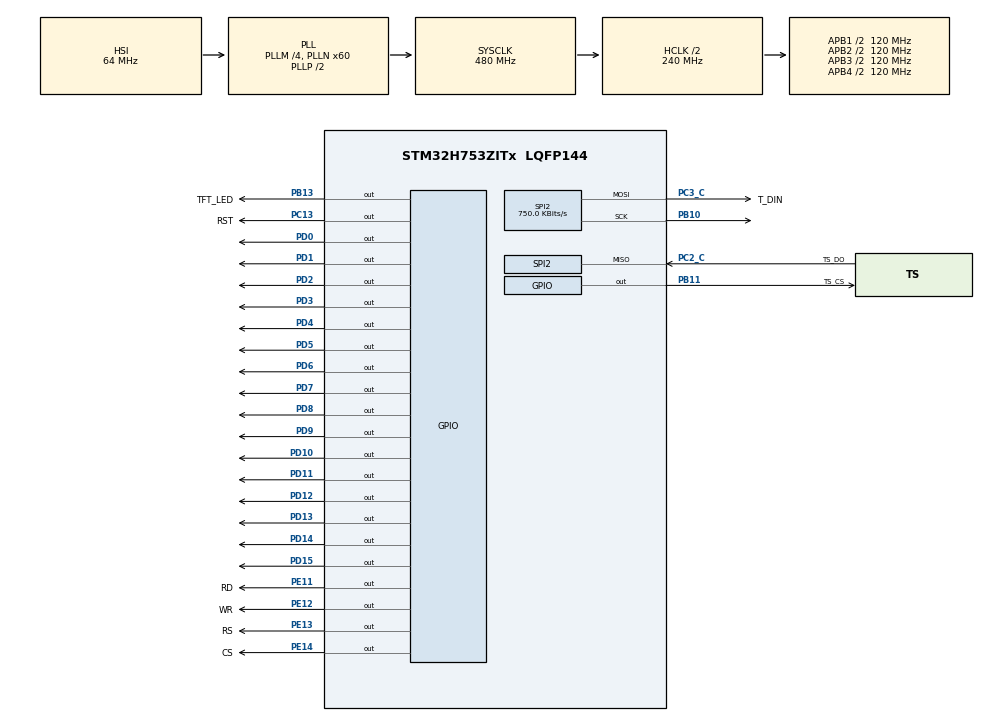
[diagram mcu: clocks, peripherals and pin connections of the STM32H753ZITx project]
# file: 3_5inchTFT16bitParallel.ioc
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CORTEX_M7.default_mode_Activation=1
Mcu.Family=STM32H7
Mcu.Name=STM32H753ZITx
Mcu.Package=LQFP144
NVIC.PriorityGroup=NVIC_PRIORITYGROUP_4
PA13\ (JTMS/SWDIO).Mode=Serial_Wire
PA13\ (JTMS/SWDIO).Signal=DEBUG_JTMS-SWDIO
PA14\ (JTCK/SWCLK).Mode=Serial_Wire
PA14\ (JTCK/SWCLK).Signal=DEBUG_JTCK-SWCLK
PB10.Mode=Full_Duplex_Master
PB10.Signal=SPI2_SCK
PB11.GPIO_Label=TS_CS
PB11.Signal=GPIO_Output
PB13.GPIO_Label=TFT_LED
PB13.Signal=GPIO_Output
PC13.GPIO_Label=RST
PC13.Signal=GPIO_Output
PC2_C.GPIO_Label=TS_DO
PC2_C.Mode=Full_Duplex_Master
PC2_C.Signal=SPI2_MISO
PC3_C.GPIO_Label=T_DIN
PC3_C.Mode=Full_Duplex_Master
PC3_C.Signal=SPI2_MOSI
PD0.Signal=GPIO_Output
PD1.Signal=GPIO_Output
PD10.Signal=GPIO_Output
PD11.Signal=GPIO_Output
PD12.Signal=GPIO_Output
PD13.Signal=GPIO_Output
PD14.Signal=GPIO_Output
PD15.Signal=GPIO_Output
PD2.Signal=GPIO_Output
PD3.Signal=GPIO_Output
PD4.Signal=GPIO_Output
PD5.Signal=GPIO_Output
PD6.Signal=GPIO_Output
PD7.Signal=GPIO_Output
PD8.Signal=GPIO_Output
PD9.Signal=GPIO_Output
PE11.GPIO_Label=RD
PE11.Signal=GPIO_Output
PE12.GPIO_Label=WR
PE12.Signal=GPIO_Output
PE13.GPIO_Label=RS
PE13.Signal=GPIO_Output
PE14.GPIO_Label=CS
PE14.Signal=GPIO_Output
ProjectManager.HeapSize=0x200
ProjectManager.StackSize=0x400
ProjectManager.TargetToolchain=STM32CubeIDE
RCC.ADCFreq_Value=129000000
RCC.APB1Freq_Value=120000000
RCC.APB2Freq_Value=120000000
RCC.APB3Freq_Value=120000000
RCC.APB4Freq_Value=120000000
RCC.CortexFreq_Value=480000000
RCC.D1PPRE=RCC_APB3_DIV2
RCC.D2PPRE1=RCC_APB1_DIV2
RCC.D2PPRE2=RCC_APB2_DIV2
RCC.D3PPRE=RCC_APB4_DIV2
RCC.DIVM1=4
RCC.DIVN1=60
RCC.DIVQ1=5
RCC.HCLKFreq_Value=240000000
RCC.HPRE=RCC_HCLK_DIV2
RCC.PLLFRACN=0
RCC.SYSCLKFreq_VALUE=480000000
RCC.SYSCLKSource=RCC_SYSCLKSOURCE_PLLCLK
RCC.USBFreq_Value=192000000
SPI2.BaudRatePrescaler=SPI_BAUDRATEPRESCALER_256
SPI2.CalculateBaudRate=750.0 KBits/s
SPI2.Direction=SPI_DIRECTION_2LINES
SPI2.Mode=SPI_MODE_MASTER
SPI2.VirtualType=VM_MASTER
board=custom

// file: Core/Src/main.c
/* USER CODE BEGIN Header */
/**
  ******************************************************************************
  * @file           : main.c
  * @brief          : Main program body
  ******************************************************************************
  * @attention
  *
  * Copyright (c) 2024 STMicroelectronics.
  * All rights reserved.
  *
  * This software is licensed under terms that can be found in the LICENSE file
  * in the root directory of this software component.
  * If no LICENSE file comes with this software, it is provided AS-IS.
  *
  ******************************************************************************
  */
/* USER CODE END Header */
#include "main.h"

/* USER CODE BEGIN Includes */
#include "ILI9341_16bit.h"
#include "TSC2046.h"
/* USER CODE END Includes */

SPI_HandleTypeDef hspi2;

void SystemClock_Config(void);
static void MPU_Config(void);
static void MX_GPIO_Init(void);
static void MX_SPI2_Init(void);

int main(void)
{

  /* MPU Configuration--------------------------------------------------------*/
  MPU_Config();

  /* MCU Configuration--------------------------------------------------------*/

  /* Reset of all peripherals, Initializes the Flash interface and the Systick. */
  HAL_Init();

  /* Configure the system clock */
  SystemClock_Config();

  /* Initialize all configured peripherals */
  MX_GPIO_Init();
  MX_SPI2_Init();
  /* USER CODE BEGIN 2 */
  ILI9341_Initial();
	setRotation(1);
	HAL_GPIO_WritePin(TFT_LED_GPIO_Port, TFT_LED_Pin, GPIO_PIN_RESET);
	ClearScreen(0x0000);  //CLEAR DISPLAY
	HAL_GPIO_WritePin(TFT_LED_GPIO_Port, TFT_LED_Pin, GPIO_PIN_SET);
//	HAL_TIM_Base_Start(&htim5);
//	HAL_TIM_Base_Start(&htim1);

	TSC2046_Begin(&hspi2, GPIOB, GPIO_PIN_11);
	TSC2046_Calibrate(1);

  /* USER CODE END 2 */

  /* Infinite loop */
  while (1)
  {

    /* USER CODE BEGIN 3 */
		ClearScreen(0xF800);  //CLEAR DISPLAY
		HAL_Delay(1000);
		ClearScreen(0x007F);  //CLEAR DISPLAY
		HAL_Delay(1000);
		ClearScreen(0x0FFF);  //CLEAR DISPLAY
		HAL_Delay(1000);
		ClearScreen(0xFFFF);  //CLEAR DISPLAY
		HAL_Delay(1000);
  }
  /* USER CODE END 3 */
}

void SystemClock_Config(void)
{
  RCC_OscInitTypeDef RCC_OscInitStruct = {0};
  RCC_ClkInitTypeDef RCC_ClkInitStruct = {0};

  /** Supply configuration update enable
  */
  HAL_PWREx_ConfigSupply(PWR_LDO_SUPPLY);

  /** Configure the main internal regulator output voltage
  */
  __HAL_PWR_VOLTAGESCALING_CONFIG(PWR_REGULATOR_VOLTAGE_SCALE1);

  while(!__HAL_PWR_GET_FLAG(PWR_FLAG_VOSRDY)) {}

  __HAL_RCC_SYSCFG_CLK_ENABLE();
  __HAL_PWR_VOLTAGESCALING_CONFIG(PWR_REGULATOR_VOLTAGE_SCALE0);

  while(!__HAL_PWR_GET_FLAG(PWR_FLAG_VOSRDY)) {}

  /** Initializes the RCC Oscillators according to the specified parameters
  * in the RCC_OscInitTypeDef structure.
  */
  RCC_OscInitStruct.OscillatorType = RCC_OSCILLATORTYPE_HSI;
  RCC_OscInitStruct.HSIState = RCC_HSI_DIV1;
  RCC_OscInitStruct.HSICalibrationValue = RCC_HSICALIBRATION_DEFAULT;
  RCC_OscInitStruct.PLL.PLLState = RCC_PLL_ON;
  RCC_OscInitStruct.PLL.PLLSource = RCC_PLLSOURCE_HSI;
  RCC_OscInitStruct.PLL.PLLM = 4;
  RCC_OscInitStruct.PLL.PLLN = 60;
  RCC_OscInitStruct.PLL.PLLP = 2;
  RCC_OscInitStruct.PLL.PLLQ = 5;
  RCC_OscInitStruct.PLL.PLLR = 2;
  RCC_OscInitStruct.PLL.PLLRGE = RCC_PLL1VCIRANGE_3;
  RCC_OscInitStruct.PLL.PLLVCOSEL = RCC_PLL1VCOWIDE;
  RCC_OscInitStruct.PLL.PLLFRACN = 0;
  if (HAL_RCC_OscConfig(&RCC_OscInitStruct) != HAL_OK)
  {
    Error_Handler();
  }

  /** Initializes the CPU, AHB and APB buses clocks
  */
  RCC_ClkInitStruct.ClockType = RCC_CLOCKTYPE_HCLK|RCC_CLOCKTYPE_SYSCLK
                              |RCC_CLOCKTYPE_PCLK1|RCC_CLOCKTYPE_PCLK2
                              |RCC_CLOCKTYPE_D3PCLK1|RCC_CLOCKTYPE_D1PCLK1;
  RCC_ClkInitStruct.SYSCLKSource = RCC_SYSCLKSOURCE_PLLCLK;
  RCC_ClkInitStruct.SYSCLKDivider = RCC_SYSCLK_DIV1;
  RCC_ClkInitStruct.AHBCLKDivider = RCC_HCLK_DIV2;
  RCC_ClkInitStruct.APB3CLKDivider = RCC_APB3_DIV2;
  RCC_ClkInitStruct.APB1CLKDivider = RCC_APB1_DIV2;
  RCC_ClkInitStruct.APB2CLKDivider = RCC_APB2_DIV2;
  RCC_ClkInitStruct.APB4CLKDivider = RCC_APB4_DIV2;

  if (HAL_RCC_ClockConfig(&RCC_ClkInitStruct, FLASH_LATENCY_4) != HAL_OK)
  {
    Error_Handler();
  }
}

static void MX_SPI2_Init(void)
{

  /* SPI2 parameter configuration*/
  hspi2.Instance = SPI2;
  hspi2.Init.Mode = SPI_MODE_MASTER;
  hspi2.Init.Direction = SPI_DIRECTION_2LINES;
  hspi2.Init.DataSize = SPI_DATASIZE_4BIT;
  hspi2.Init.CLKPolarity = SPI_POLARITY_LOW;
  hspi2.Init.CLKPhase = SPI_PHASE_1EDGE;
  hspi2.Init.NSS = SPI_NSS_SOFT;
  hspi2.Init.BaudRatePrescaler = SPI_BAUDRATEPRESCALER_256;
  hspi2.Init.FirstBit = SPI_FIRSTBIT_MSB;
  hspi2.Init.TIMode = SPI_TIMODE_DISABLE;
  hspi2.Init.CRCCalculation = SPI_CRCCALCULATION_DISABLE;
  hspi2.Init.CRCPolynomial = 0x0;
  hspi2.Init.NSSPMode = SPI_NSS_PULSE_ENABLE;
  hspi2.Init.NSSPolarity = SPI_NSS_POLARITY_LOW;
  hspi2.Init.FifoThreshold = SPI_FIFO_THRESHOLD_01DATA;
  hspi2.Init.TxCRCInitializationPattern = SPI_CRC_INITIALIZATION_ALL_ZERO_PATTERN;
  hspi2.Init.RxCRCInitializationPattern = SPI_CRC_INITIALIZATION_ALL_ZERO_PATTERN;
  hspi2.Init.MasterSSIdleness = SPI_MASTER_SS_IDLENESS_00CYCLE;
  hspi2.Init.MasterInterDataIdleness = SPI_MASTER_INTERDATA_IDLENESS_00CYCLE;
  hspi2.Init.MasterReceiverAutoSusp = SPI_MASTER_RX_AUTOSUSP_DISABLE;
  hspi2.Init.MasterKeepIOState = SPI_MASTER_KEEP_IO_STATE_DISABLE;
  hspi2.Init.IOSwap = SPI_IO_SWAP_DISABLE;
  if (HAL_SPI_Init(&hspi2) != HAL_OK)
  {
    Error_Handler();
  }

}

static void MX_GPIO_Init(void)
{
  GPIO_InitTypeDef GPIO_InitStruct = {0};

  /* GPIO Ports Clock Enable */
  __HAL_RCC_GPIOC_CLK_ENABLE();
  __HAL_RCC_GPIOE_CLK_ENABLE();
  __HAL_RCC_GPIOB_CLK_ENABLE();
  __HAL_RCC_GPIOD_CLK_ENABLE();
  __HAL_RCC_GPIOA_CLK_ENABLE();

  /*Configure GPIO pin Output Level */
  HAL_GPIO_WritePin(RST_GPIO_Port, RST_Pin, GPIO_PIN_RESET);

  /*Configure GPIO pin Output Level */
  HAL_GPIO_WritePin(GPIOE, RD_Pin|WR_Pin|RS_Pin|CS_Pin, GPIO_PIN_RESET);

  /*Configure GPIO pin Output Level */
  HAL_GPIO_WritePin(GPIOB, TS_CS_Pin|TFT_LED_Pin, GPIO_PIN_RESET);

  /*Configure GPIO pin Output Level */
  HAL_GPIO_WritePin(GPIOD, GPIO_PIN_8|GPIO_PIN_9|GPIO_PIN_10|GPIO_PIN_11
                          |GPIO_PIN_12|GPIO_PIN_13|GPIO_PIN_14|GPIO_PIN_15
                          |GPIO_PIN_0|GPIO_PIN_1|GPIO_PIN_2|GPIO_PIN_3
                          |GPIO_PIN_4|GPIO_PIN_5|GPIO_PIN_6|GPIO_PIN_7, GPIO_PIN_RESET);

  /*Configure GPIO pin : RST_Pin */
  GPIO_InitStruct.Pin = RST_Pin;
  GPIO_InitStruct.Mode = GPIO_MODE_OUTPUT_PP;
  GPIO_InitStruct.Pull = GPIO_NOPULL;
  GPIO_InitStruct.Speed = GPIO_SPEED_FREQ_LOW;
  HAL_GPIO_Init(RST_GPIO_Port, &GPIO_InitStruct);

  /*Configure GPIO pins : RD_Pin WR_Pin RS_Pin CS_Pin */
  GPIO_InitStruct.Pin = RD_Pin|WR_Pin|RS_Pin|CS_Pin;
  GPIO_InitStruct.Mode = GPIO_MODE_OUTPUT_PP;
  GPIO_InitStruct.Pull = GPIO_NOPULL;
  GPIO_InitStruct.Speed = GPIO_SPEED_FREQ_LOW;
  HAL_GPIO_Init(GPIOE, &GPIO_InitStruct);

  /*Configure GPIO pins : TS_CS_Pin TFT_LED_Pin */
  GPIO_InitStruct.Pin = TS_CS_Pin|TFT_LED_Pin;
  GPIO_InitStruct.Mode = GPIO_MODE_OUTPUT_PP;
  GPIO_InitStruct.Pull = GPIO_NOPULL;
  GPIO_InitStruct.Speed = GPIO_SPEED_FREQ_LOW;
  HAL_GPIO_Init(GPIOB, &GPIO_InitStruct);

  /*Configure GPIO pins : PD8 PD9 PD10 PD11
                           PD12 PD13 PD14 PD15
                           PD0 PD1 PD2 PD3
                           PD4 PD5 PD6 PD7 */
  GPIO_InitStruct.Pin = GPIO_PIN_8|GPIO_PIN_9|GPIO_PIN_10|GPIO_PIN_11
                          |GPIO_PIN_12|GPIO_PIN_13|GPIO_PIN_14|GPIO_PIN_15
                          |GPIO_PIN_0|GPIO_PIN_1|GPIO_PIN_2|GPIO_PIN_3
                          |GPIO_PIN_4|GPIO_PIN_5|GPIO_PIN_6|GPIO_PIN_7;
  GPIO_InitStruct.Mode = GPIO_MODE_OUTPUT_PP;
  GPIO_InitStruct.Pull = GPIO_NOPULL;
  GPIO_InitStruct.Speed = GPIO_SPEED_FREQ_LOW;
  HAL_GPIO_Init(GPIOD, &GPIO_InitStruct);

}

 /* MPU Configuration */

void MPU_Config(void)
{
  MPU_Region_InitTypeDef MPU_InitStruct = {0};

  /* Disables the MPU */
  HAL_MPU_Disable();

  /** Initializes and configures the Region and the memory to be protected
  */
  MPU_InitStruct.Enable = MPU_REGION_ENABLE;
  MPU_InitStruct.Number = MPU_REGION_NUMBER0;
  MPU_InitStruct.BaseAddress = 0x0;
  MPU_InitStruct.Size = MPU_REGION_SIZE_4GB;
  MPU_InitStruct.SubRegionDisable = 0x87;
  MPU_InitStruct.TypeExtField = MPU_TEX_LEVEL0;
  MPU_InitStruct.AccessPermission = MPU_REGION_NO_ACCESS;
  MPU_InitStruct.DisableExec = MPU_INSTRUCTION_ACCESS_DISABLE;
  MPU_InitStruct.IsShareable = MPU_ACCESS_SHAREABLE;
  MPU_InitStruct.IsCacheable = MPU_ACCESS_NOT_CACHEABLE;
  MPU_InitStruct.IsBufferable = MPU_ACCESS_NOT_BUFFERABLE;

  HAL_MPU_ConfigRegion(&MPU_InitStruct);
  /* Enables the MPU */
  HAL_MPU_Enable(MPU_PRIVILEGED_DEFAULT);

}

void Error_Handler(void)
{
  __disable_irq();
  while (1)
  {
  }
}
